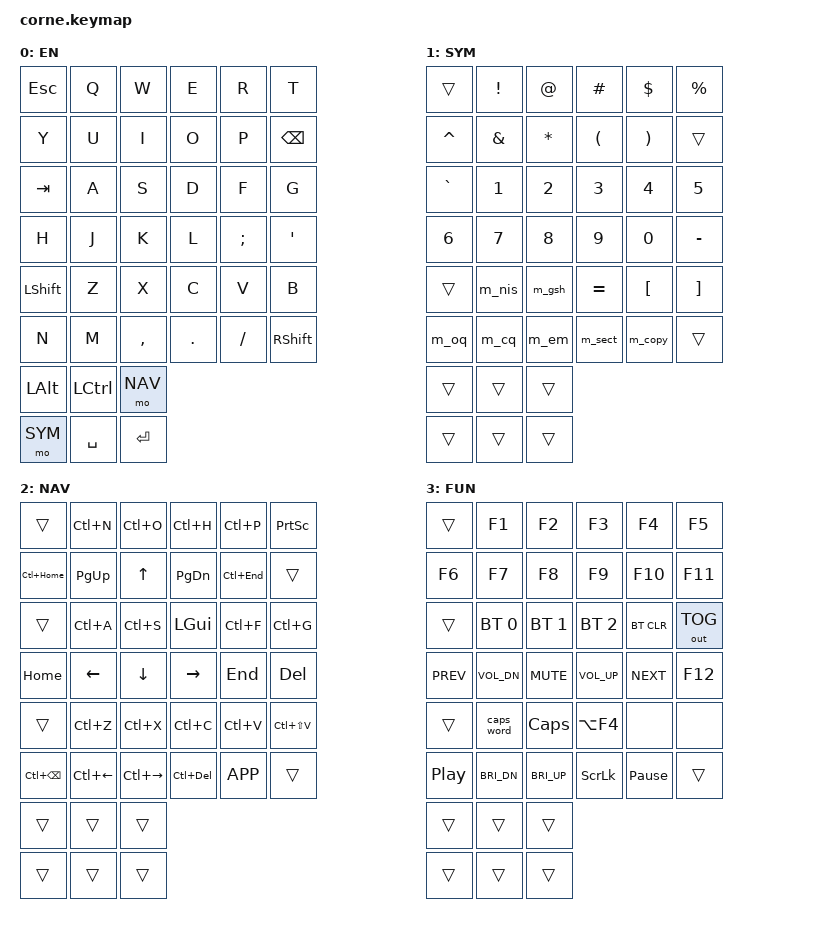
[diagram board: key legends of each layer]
/*
 * CRKBD ZMK Keymap v2 — COMFORT EDITION
 * Hebrew + English · Lawyer Layout · Linux (KDE/Wayland) + Windows 11
 * 42 keys · 4 ZMK layers: EN / SYM / NAV / FUN (tri-layer)
 *
 * DESIGN PRINCIPLES
 *   1. NO hold-taps on letter keys — zero misfires at any typing speed
 *   2. Shift at standard pinky positions (pos 24 & 35) — zero relearning
 *   3. Ctrl on left thumb — every Office chord becomes thumb + finger
 *   4. NAV on LEFT thumb → right hand free for inverse-T arrows (IJKL)
 *   5. Same-letter mnemonics on NAV: A=All S=Save F=Find G=GoTo Z/X/C/V=clipboard
 *   6. Numbers on SYM home row; shifted symbol directly above each digit
 *   7. FUN = hold both inner thumbs (conditional tri-layer)
 *
 * Key positions:
 *   0- 5 / 6-11  : top row      12-17 / 18-23 : home row
 *  24-29 / 30-35 : bottom row   36-38 / 39-41 : thumbs
 */

#include <behaviors.dtsi>
#include <dt-bindings/zmk/keys.h>
#include <dt-bindings/zmk/bt.h>
#include <dt-bindings/zmk/outputs.h>

#define EN  0
#define SYM 1
#define NAV 2
#define FUN 3
// No Hebrew layer — OS input source handles all Hebrew mapping.

/ {
    // FUN activates automatically when NAV and SYM are both held
    conditional_layers {
        compatible = "zmk,conditional-layers";
        tri_layer {
            if-layers = <NAV SYM>;
            then-layer = <FUN>;
        };
    };

    macros {
        m_sect: macro_section {        // § U+00A7
            compatible = "zmk,behavior-macro";
            #binding-cells = <0>;
            wait-ms = <10>; tap-ms = <10>;
            bindings = <&kp LC(LS(U))>,
                       <&kp N0 &kp N0 &kp A &kp N7>,
                       <&kp RET>;
        };
        m_copy: macro_copyright {      // © U+00A9
            compatible = "zmk,behavior-macro";
            #binding-cells = <0>;
            wait-ms = <10>; tap-ms = <10>;
            bindings = <&kp LC(LS(U))>,
                       <&kp N0 &kp N0 &kp A &kp N9>,
                       <&kp RET>;
        };
        m_oq: macro_open_quote {       // “ U+201C
            compatible = "zmk,behavior-macro";
            #binding-cells = <0>;
            wait-ms = <10>; tap-ms = <10>;
            bindings = <&kp LC(LS(U))>,
                       <&kp N2 &kp N0 &kp N1 &kp C>,
                       <&kp RET>;
        };
        m_cq: macro_close_quote {      // ” U+201D
            compatible = "zmk,behavior-macro";
            #binding-cells = <0>;
            wait-ms = <10>; tap-ms = <10>;
            bindings = <&kp LC(LS(U))>,
                       <&kp N2 &kp N0 &kp N1 &kp D>,
                       <&kp RET>;
        };
        m_em: macro_em_dash {          // — U+2014
            compatible = "zmk,behavior-macro";
            #binding-cells = <0>;
            wait-ms = <10>; tap-ms = <10>;
            bindings = <&kp LC(LS(U))>,
                       <&kp N2 &kp N0 &kp N1 &kp N4>,
                       <&kp RET>;
        };
        m_nis: macro_shekel {          // ₪ U+20AA  (New Israeli Shekel)
            compatible = "zmk,behavior-macro";
            #binding-cells = <0>;
            wait-ms = <10>; tap-ms = <10>;
            bindings = <&kp LC(LS(U))>,
                       <&kp N2 &kp N0 &kp A &kp A>,
                       <&kp RET>;
        };
        m_gsh: macro_gershayim {       // ״ U+05F4  (עו״ד, פס״ד, ביהמ״ש)
            compatible = "zmk,behavior-macro";
            #binding-cells = <0>;
            wait-ms = <10>; tap-ms = <10>;
            bindings = <&kp LC(LS(U))>,
                       <&kp N0 &kp N5 &kp F &kp N4>,
                       <&kp RET>;
        };
    };

    keymap {
        compatible = "zmk,keymap";

        // Layer 0: English — pure QWERTY, no dual-function letters
        //  ESC   Q    W    E    R    T  |  Y    U    I    O    P   BSPC
        //  TAB   A    S    D    F    G  |  H    J    K    L    ;    '
        //  SHFT  Z    X    C    V    B  |  N    M    ,    .    /   SHFT
        //      [ALT][CTRL][NAV]         | [SYM][SPC][ENT]
        english_layer {
            label = "EN";
            bindings = <
                &kp ESC    &kp Q   &kp W   &kp E     &kp R   &kp T
                &kp Y      &kp U   &kp I   &kp O     &kp P   &kp BSPC
                &kp TAB    &kp A   &kp S   &kp D     &kp F   &kp G
                &kp H      &kp J   &kp K   &kp L     &kp SEMI &kp SQT
                &kp LSHFT  &kp Z   &kp X   &kp C     &kp V   &kp B
                &kp N      &kp M   &kp COMMA &kp DOT &kp FSLH &kp RSHFT
                &kp LALT   &kp LCTRL &mo NAV
                &mo SYM    &kp SPACE &kp ENTER
            >;
        };

        // Layer 1: Symbols — hold RIGHT inner thumb
        //  ▸    !    @    #    $    %  |  ^    &    *    (    )    ▸
        //  `    1    2    3    4    5  |  6    7    8    9    0    -
        //  ▸    ₪    ״    =    [    ]  |  “    ”    —    §    ©    ▸
        //  Numbers on HOME ROW. Shifted symbol directly above its digit.
        //  Real Shift gives: ` → ~   - → _   = → +   [ → {   ] → }
        symbols_layer {
            label = "SYM";
            bindings = <
                &trans     &kp EXCL &kp AT  &kp HASH  &kp DLLR &kp PRCNT
                &kp CARET  &kp AMPS &kp STAR &kp LPAR &kp RPAR &trans
                &kp GRAVE  &kp N1  &kp N2   &kp N3    &kp N4  &kp N5
                &kp N6     &kp N7  &kp N8   &kp N9    &kp N0  &kp MINUS
                &trans     &m_nis  &m_gsh   &kp EQUAL &kp LBKT &kp RBKT
                &m_oq      &m_cq   &m_em    &m_sect   &m_copy &trans
                &trans     &trans  &trans
                &trans     &trans  &trans
            >;
        };

        // Layer 2: Navigation — hold LEFT inner thumb (right hand = arrows)
        //  ▸   ⌃N   ⌃O   ⌃H   ⌃P  PrtS | ⌃Hm  PgUp  ↑   PgDn ⌃End  ▸
        //  ▸   ⌃A   ⌃S   WIN  ⌃F   ⌃G  | Home  ←    ↓    →   End  DEL
        //  ▸   ⌃Z   ⌃X   ⌃C   ⌃V  ⌃⇧V | ⌃⌫   ⌃←   ⌃→   ⌃⌦  APP   ▸
        //  Same-letter mnemonics: A=SelectAll S=Save F=Find G=GoTo(page!)
        //  Z/X/C/V = clipboard one-handed (mouse stays in right hand)
        //  B = paste UNFORMATTED (Ctrl+Shift+V) — essential pasting into Word
        //  Inverse-T arrows on IJKL · word-jump & word-delete under arrows
        nav_layer {
            label = "NAV";
            bindings = <
                &trans       &kp LC(N)  &kp LC(O)  &kp LC(H)  &kp LC(P)  &kp PSCRN
                &kp LC(HOME) &kp PG_UP  &kp UP     &kp PG_DN  &kp LC(END) &trans
                &trans       &kp LC(A)  &kp LC(S)  &kp LGUI   &kp LC(F)  &kp LC(G)
                &kp HOME     &kp LEFT   &kp DOWN   &kp RIGHT  &kp END    &kp DEL
                &trans       &kp LC(Z)  &kp LC(X)  &kp LC(C)  &kp LC(V)  &kp LC(LS(V))
                &kp LC(BSPC) &kp LC(LEFT) &kp LC(RIGHT) &kp LC(DEL) &kp K_APP &trans
                &trans       &trans     &trans
                &trans       &trans     &trans
            >;
        };

        // Layer 3: Function — hold BOTH inner thumbs (tri-layer, automatic)
        //  ▸   F1   F2   F3   F4   F5  |  F6   F7   F8   F9  F10  F11
        //  ▸  BT1  BT2  BT3 BTCLR USB |  ⏮  Vol- Mute Vol+  ⏭  F12
        //  ▸  CapsWd Caps ⌥F4  ·   ·  |  ⏵  Bri- Bri+ ScLk Brk   ▸
        //  F7 = Word spellcheck · F12 = Save As · CapsWord = caps until space
        fun_layer {
            label = "FUN";
            bindings = <
                &trans      &kp F1       &kp F2       &kp F3       &kp F4      &kp F5
                &kp F6      &kp F7       &kp F8       &kp F9       &kp F10     &kp F11
                &trans      &bt BT_SEL 0 &bt BT_SEL 1 &bt BT_SEL 2 &bt BT_CLR  &out OUT_TOG
                &kp C_PREV  &kp C_VOL_DN &kp C_MUTE   &kp C_VOL_UP &kp C_NEXT  &kp F12
                &trans      &caps_word   &kp CAPS     &kp LA(F4)   &none       &none
                &kp C_PP    &kp C_BRI_DN &kp C_BRI_UP &kp SLCK     &kp PAUSE_BREAK &trans
                &trans      &trans       &trans
                &trans      &trans       &trans
            >;
        };
    };
};

/*
 * SETUP NOTES
 *
 * UNICODE INPUT
 *   Linux (IBus/Fcitx5): macros send Ctrl+Shift+U → hex → Enter.
 *     Verify in Kate: Ctrl+Shift+U, 20aa, Enter → ₪
 *   Windows 11: install WinCompose (github.com/samhocevar/wincompose):
 *     § = Compose s o    © = Compose o c    — = Compose - - -
 *     “ = Compose < "    ” = Compose > "
 *     ₪ and ״: define custom sequences in WinCompose, or use Win+.
 *
 * WHY NO HOLD-TAPS ON LETTERS
 *   At sustained typing speed, hold-taps misfire (rolls register as holds).
 *   This layout has hold behavior ONLY on the two layer thumb keys,
 *   which are never part of letter rolls. Result: deterministic typing.
 *
 * CHORD REFERENCE (most common in MS Word / LibreOffice)
 *   Bold/Italic/Underline ... Ctrl(thumb 37) + B/I/U
 *   Select All / Save ....... NAV+A / NAV+S  (or Ctrl+A / Ctrl+S)
 *   Find / Replace .......... NAV+F / NAV+H (Replace lives on top row H col)
 *   Go To page .............. NAV+G  (Ctrl+G — jump to page number)
 *   Paste unformatted ....... NAV+B  (Ctrl+Shift+V, one chord)
 *   Select text ............. Shift(pinky) + NAV(thumb) + arrows
 *   Select word-by-word ..... Shift + NAV + Word←/Word→
 *   Delete previous word .... NAV + DelWd←  (Ctrl+Backspace)
 *   Window switch ........... Alt(36) + TAB(12)
 *   Close window ............ FUN + ⌥F4 key (pre-combined Alt+F4)
 *   Spellcheck / Save As .... FUN + F7 / FUN + F12
 *
 * RECOMMENDED config/corne.conf
 *   CONFIG_ZMK_SLEEP=y
 *   CONFIG_ZMK_IDLE_SLEEP_TIMEOUT=900000
 *   CONFIG_ZMK_BT_CLEAR_BONDS_ON_START=n
 */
